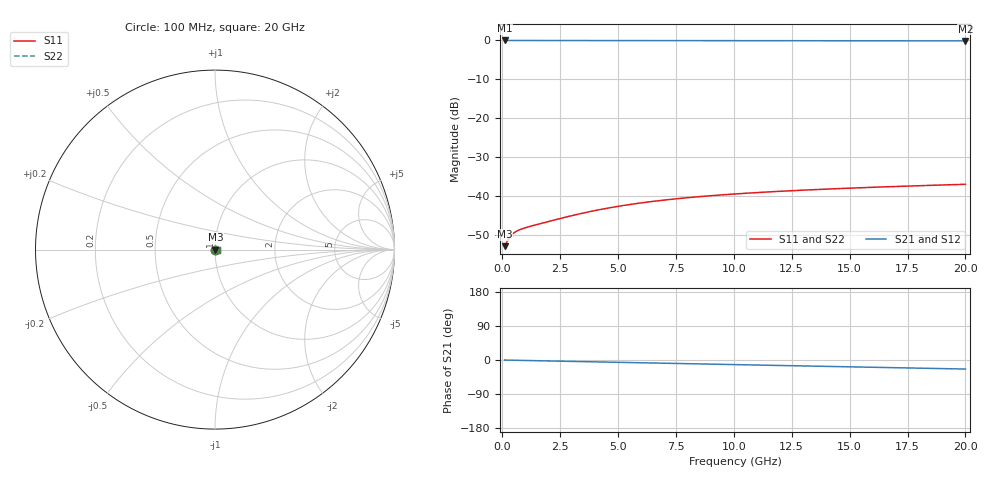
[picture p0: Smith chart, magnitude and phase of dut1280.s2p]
! Touchstone file exported from HFSS 2026.1.0
!  File:  C:/ffzhzh/LocalFiles/Ansys_Project_Files/temp_train_TMRDL_1280_1783164344_55132.aedt
!  Generated:  07:26:49 PM Jul  4, 2026
!  Design:  TMRDL
!  Project:  temp_train_TMRDL_1280_1783164344_55132
! Variables:
!  h_bsmrdl = 2um
!  h_ox = 20um
!  h_rdl = 5um
!  h_sub = 80um
!  h_tmrdl = 3.97um
!  h_tsv = 80um
!  h_via = 3um
!  l_bsmrdl = 300um
!  l_sub = 825.26um
!  l_tmrdl = 425.26um
!  m_sub = 200um
!  pitch = 23.18um
!  r_tsv = 6um
!  s_tmrdl = 10um
!  w_bsmrdl = 18um
!  w_sub = 500um
!  w_tmrdl = 19.15um
!  x_tsv_center1 = 434.835um
!  x_tsv_center2 = 752.835um
!  x_tsv_center3 = 1197.245um
!  x_tsv_center4 = 1515.245um
!  x_tsv_center5 = 1959.655um
!  x_tsv_center6 = 2277.655um
# GHz S MA R 50.000000
! Terminal data exported
! Port[1] = TM_RDL1_1_T1
! Port[2] = TM_RDL1_1_T2
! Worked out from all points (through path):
!   200 points, 100 MHz to 20 GHz, reference 50 ohm
!   highest |S21| = -0.02 dB at 100 MHz (marker M1); lowest = -0.1 dB at 20 GHz (marker M2)
!   group delay of S21, straight-line fit = 3.3 ps
!   lowest |S11| = -52.9 dB at 100 MHz (marker M3), VSWR 1.00, Z = 50.2 + j0.0471 ohm
!   |S11| at or under -10 dB: start of sweep to end of sweep
!   |S22| runs from -52.9 to -37.0 dB; largest |S21 - S12| = 5.1e-15
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0.1  0.002257 12.0  0.9978 -0.1  0.9978 -0.1  0.002257 12.0
! Gamma 0 0 0 0
! Port Impedance 50 0 50 0
0.2  0.002573 18.7  0.9976 -0.3  0.9976 -0.3  0.002573 18.7
0.3  0.00289 21.1  0.9973 -0.4  0.9973 -0.4  0.00289 21.1
0.4  0.003148 21.7  0.9971 -0.5  0.9971 -0.5  0.003148 21.7
0.5  0.003345 21.8  0.9969 -0.7  0.9969 -0.7  0.003345 21.8
0.6  0.003497 21.8  0.9968 -0.8  0.9968 -0.8  0.003497 21.8
0.7  0.003619 21.8  0.9967 -0.9  0.9967 -0.9  0.003619 21.8
1  0.003897 22.6  0.9964 -1.3  0.9964 -1.3  0.003897 22.6
1.5  0.004285 24.9  0.9962 -1.9  0.9962 -1.9  0.004285 24.9
2.7  0.005298 29.1  0.9955 -3.4  0.9955 -3.4  0.005299 29.1
3.5  0.006024 29.8  0.995 -4.3  0.995 -4.3  0.006026 29.8
4.3  0.006741 29.2  0.9944 -5.3  0.9944 -5.3  0.006744 29.2
5.1  0.007423 27.8  0.9938 -6.3  0.9938 -6.3  0.007426 27.8
5.9  0.008057 25.9  0.9932 -7.3  0.9932 -7.3  0.008062 25.8
6.8  0.00871 23.4  0.9925 -8.3  0.9925 -8.3  0.008716 23.3
7.5  0.009174 21.3  0.992 -9.2  0.992 -9.2  0.009182 21.3
8.3  0.009663 18.9  0.9915 -10.1  0.9915 -10.1  0.009672 18.8
10.1  0.01062 13.4  0.9903 -12.2  0.9903 -12.2  0.01063 13.3
11.6  0.0113 8.9  0.9895 -14.0  0.9895 -14.0  0.01132 8.9
13.4  0.01201 3.8  0.9885 -16.1  0.9885 -16.1  0.01204 3.7
16.7  0.01313 -5.2  0.987 -20.0  0.987 -20.0  0.01317 -5.2
20  0.0141 -13.6  0.9857 -23.9  0.9857 -23.9  0.01416 -13.6
